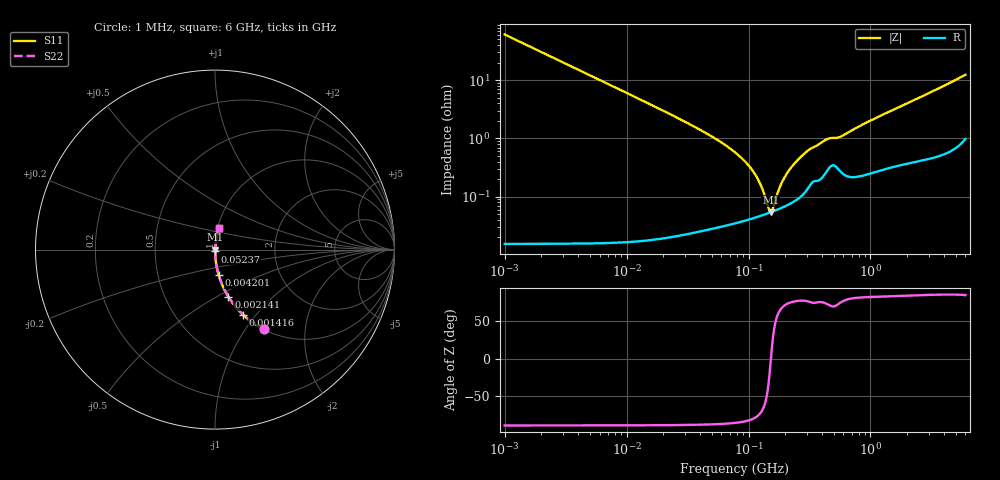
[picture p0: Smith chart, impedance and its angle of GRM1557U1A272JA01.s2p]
!Murata Part Number: GRM1557U1A272JA01
!These Parameters are Measured in Series Mode Connection
!Data Generated on Mar 30, 2021
!  o--ll--o
!Port1  Port2
!  o------o
!Operation Temp=25[degC], DC Bias Voltage=0[V]
!Freq. Start=1000[kHz] Stop=6[GHz] 401[Steps]
# Hz S RI R 50
!Freq.(Hz) S11(Real) S11(Imag) S21(Real) S21(Imag) S12(Real) S12(Imag) S22(Real) S22(Imag)
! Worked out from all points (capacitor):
!   401 points, 1 MHz to 6 GHz, reference 50 ohm
!   read as one part in series: C = 2.61 nF near 1.044 MHz
!   lowest |Z| = 54.3 mohm at 152 MHz (marker M1)
!   series resonance near 152.6 MHz, so ESL is about 420 pH
!   S11 on the Smith chart (normalised r, x): 1 MHz: 1.00, -1.22; 1.416 MHz: 1.00, -0.86; 2.141 MHz: 1.00, -0.57; 4.201 MHz: 1.00, -0.29; 52.37 MHz: 1.00, -0.02; 6 GHz: 1.02, +0.25
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1000000  0.2712 -0.4444  0.7288 0.4444  0.7288 0.4444  0.2712 -0.4444
1416205  0.1565 -0.3632  0.8435 0.3632  0.8435 0.3632  0.1565 -0.3632
2140860  0.0752 -0.2634  0.9248 0.2634  0.9248 0.2634  0.0752 -0.2634
4201409  0.0208 -0.142  0.9792 0.142  0.9792 0.142  0.0208 -0.142
4293785  0.0199 -0.1391  0.9801 0.1391  0.9801 0.1391  0.0199 -0.1391
1.843659e7  0.00124 -0.0325  0.9988 0.0325  0.9988 0.0325  0.00124 -0.0325
5.236714e7  0.000391 -0.0102  0.9996 0.0102  0.9996 0.0102  0.000391 -0.0102
7.745967e7  0.000382 -0.00577  0.9996 0.00577  0.9996 0.00577  0.000382 -0.00577
9.627852e7  0.000409 -0.00376  0.9996 0.00376  0.9996 0.00376  0.000409 -0.00376
1.145757e8  0.000446 -0.00228  0.9996 0.00228  0.9996 0.00228  0.000446 -0.00228
1.277378e8  0.000477 -0.0014  0.9995 0.0014  0.9995 0.0014  0.000477 -0.0014
1.455431e8  0.000523 -0.000372  0.9995 0.000372  0.9995 0.000372  0.000523 -0.000372
1.520136e8  0.000541 -3.1e-05  0.9995 3.1e-05  0.9995 3.1e-05  0.000541 -3.1e-05
1.587717e8  0.000561 0.00031  0.9994 -0.00031  0.9994 -0.00031  0.000561 0.00031
1.848803e8  0.000641 0.00151  0.9994 -0.00151  0.9994 -0.00151  0.000641 0.00151
2.106508e8  0.000732 0.00257  0.9993 -0.00257  0.9993 -0.00257  0.000732 0.00257
2.618284e8  0.000981 0.00449  0.999 -0.00449  0.999 -0.00449  0.000981 0.00449
3.325952e8  0.0018 0.00665  0.9982 -0.00665  0.9982 -0.00665  0.0018 0.00665
4.412715e8  0.00288 0.00932  0.9971 -0.00932  0.9971 -0.00932  0.00288 0.00932
5.728625e8  0.00276 0.0104  0.9972 -0.0104  0.9972 -0.0104  0.00276 0.0104
1.428092e9  0.00392 0.0286  0.9961 -0.0286  0.9961 -0.0286  0.00392 0.0286
6e9  0.0244 0.1197  0.9756 -0.1197  0.9756 -0.1197  0.0244 0.1197
